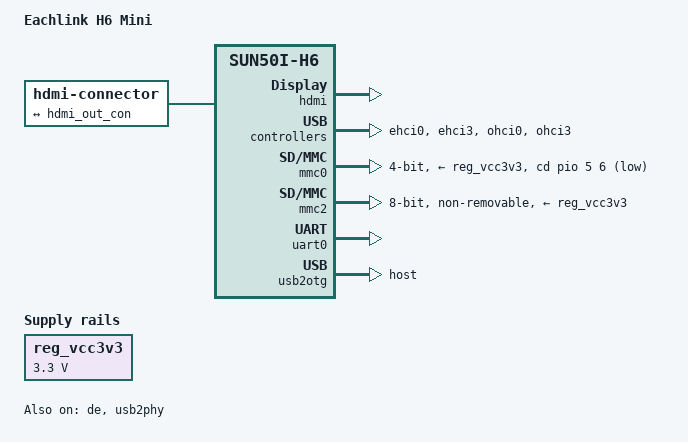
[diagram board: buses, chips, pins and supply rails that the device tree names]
// SPDX-License-Identifier: (GPL-2.0+ or MIT)
/*
 * Copyright (c) 2018 Arm Ltd.
 * based on work by:
 *   Copyright (c) 2017 Icenowy Zheng <icenowy@aosc.io>
 */

/dts-v1/;

#include "sun50i-h6.dtsi"

#include <dt-bindings/gpio/gpio.h>

/ {
	model = "Eachlink H6 Mini";
	compatible = "eachlink,h6-mini", "allwinner,sun50i-h6";

	aliases {
		serial0 = &uart0;
	};

	chosen {
		stdout-path = "serial0:115200n8";
	};

	connector {
		compatible = "hdmi-connector";
		type = "a";

		port {
			hdmi_con_in: endpoint {
				remote-endpoint = <&hdmi_out_con>;
			};
		};
	};

	reg_vcc3v3: vcc3v3 {
		compatible = "regulator-fixed";
		regulator-name = "vcc3v3";
		regulator-min-microvolt = <3300000>;
		regulator-max-microvolt = <3300000>;
	};
};

&de {
	status = "okay";
};

&hdmi {
	status = "okay";
};

&hdmi_out {
	hdmi_out_con: endpoint {
		remote-endpoint = <&hdmi_con_in>;
	};
};

&ehci0 {
	status = "okay";
};

&ehci3 {
	status = "okay";
};

&mmc0 {
	pinctrl-names = "default";
	pinctrl-0 = <&mmc0_pins>;
	vmmc-supply = <&reg_vcc3v3>;
	cd-gpios = <&pio 5 6 GPIO_ACTIVE_LOW>;
	bus-width = <4>;
	status = "okay";
};

&mmc2 {
	pinctrl-names = "default";
	pinctrl-0 = <&mmc2_pins>;
	vmmc-supply = <&reg_vcc3v3>;
	vqmmc-supply = <&reg_vcc3v3>;
	non-removable;
	cap-mmc-hw-reset;
	bus-width = <8>;
	status = "okay";
};

&ohci0 {
	status = "okay";
};

&ohci3 {
	status = "okay";
};

&uart0 {
	pinctrl-names = "default";
	pinctrl-0 = <&uart0_ph_pins>;
	status = "okay";
};

&usb2otg {
	dr_mode = "host";
	status = "okay";
};

&usb2phy {
	status = "okay";
};
